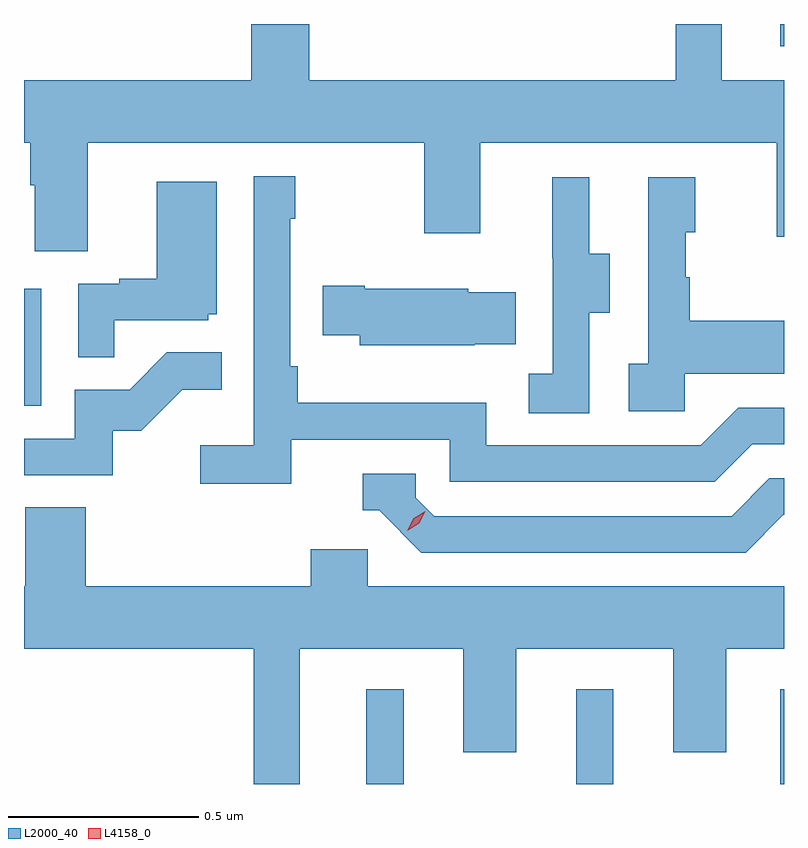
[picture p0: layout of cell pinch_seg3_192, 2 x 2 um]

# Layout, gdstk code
import gdstk
lib = gdstk.Library(unit=1e-6, precision=1e-09)
def R(c, l, rs):  # rectangles x0, y0, x1, y1
    for r in rs: c.add(gdstk.rectangle(r[:2], r[2:], *l))
def P(c, l, *ps):  # polygons
    for p in ps: c.add(gdstk.Polygon(p, *l))
L2000_40 = (2000, 40)
L4158_0 = (4158, 0)

pinch_seg3_192 = lib.new_cell('pinch_seg3_192')
R(pinch_seg3_192, L2000_40, [(981.746,740.52,981.844,740.77), (982.298,740.52,982.396,740.77), (982.835,740.52,982.845,740.77), (980.845,741.516,980.89,741.823), (982.835,742.461,982.845,742.52)])
P(pinch_seg3_192, L2000_40, [(981.013,742.208),(981.898,742.208),(981.898,741.969),(982.045,741.969),(982.045,742.208),(982.826,742.208),(982.826,741.96),(982.845,741.96),(982.845,742.372),(982.681,742.372),(982.681,742.52),(982.56,742.52),(982.56,742.372),(981.596,742.372),(981.596,742.52),(981.443,742.52),(981.443,742.372),(980.845,742.372),(980.845,742.208),(980.861,742.208),(980.861,742.096),(980.873,742.096),(980.873,741.922),(981.013,741.922)],
  [(981.548,741.426),(981.966,741.426),(981.966,741.315),(982.663,741.315),(982.762,741.414),(982.845,741.414),(982.845,741.51),(982.725,741.51),(982.626,741.411),(982.062,741.411),(982.062,741.523),(981.566,741.523),(981.566,741.619),(981.546,741.619),(981.546,742.007),(981.559,742.007),(981.559,742.12),(981.45,742.12),(981.45,741.412),(981.309,741.412),(981.309,741.31),(981.548,741.31)],
  [(982.584,741.599),(982.845,741.599),(982.845,741.739),(982.597,741.739),(982.597,741.854),(982.587,741.854),(982.587,741.972),(982.612,741.972),(982.612,742.117),(982.488,742.117),(982.488,741.626),(982.437,741.626),(982.437,741.501),(982.584,741.501)],
  [(982.332,741.76),(982.387,741.76),(982.387,741.915),(982.333,741.915),(982.333,742.117),(982.235,742.117),(982.235,741.903),(982.236,741.903),(982.236,741.599),(982.173,741.599),(982.173,741.496),(982.332,741.496)],
  [(981.083,741.741),(981.33,741.741),(981.33,741.756),(981.352,741.756),(981.352,742.105),(981.194,742.105),(981.194,741.85),(981.095,741.85),(981.095,741.837),(980.988,741.837),(980.988,741.643),(981.083,741.643)],
  [(982.031,741.677),(982.139,741.677),(982.139,741.814),(982.014,741.814),(982.014,741.823),(981.742,741.823),(981.742,741.831),(981.631,741.831),(981.631,741.701),(981.729,741.701),(981.729,741.674),(982.031,741.674)],
  [(981.078,741.45),(981.154,741.45),(981.261,741.557),(981.365,741.557),(981.365,741.656),(981.221,741.656),(981.123,741.558),(980.979,741.558),(980.979,741.429),(980.845,741.429),(980.845,741.333),(981.078,741.333)],
  [(982.843,741.228),(982.845,741.228),(982.845,741.324),(982.806,741.324),(982.707,741.225),(981.924,741.225),(981.876,741.273),(981.876,741.336),(981.737,741.336),(981.737,741.24),(981.78,741.24),(981.891,741.129),(982.744,741.129)],
  [(981.571,740.876),(982.001,740.876),(982.001,740.603),(982.141,740.603),(982.141,740.876),(982.553,740.876),(982.553,740.603),(982.693,740.603),(982.693,740.876),(982.845,740.876),(982.845,741.04),(981.75,741.04),(981.75,741.138),(981.599,741.138),(981.599,741.04),(981.008,741.04),(981.008,741.248),(980.848,741.248),(980.848,741.04),(980.845,741.04),(980.845,740.876),(981.45,740.876),(981.45,740.52),(981.571,740.52)])
P(pinch_seg3_192, L4158_0, [(981.853,741.186),(981.853,741.187),(981.87,741.219),(981.901,741.238),(981.901,741.238),(981.901,741.238),(981.885,741.206),(981.854,741.186)])

lib.write_gds('pinch_seg3_192.gds')
